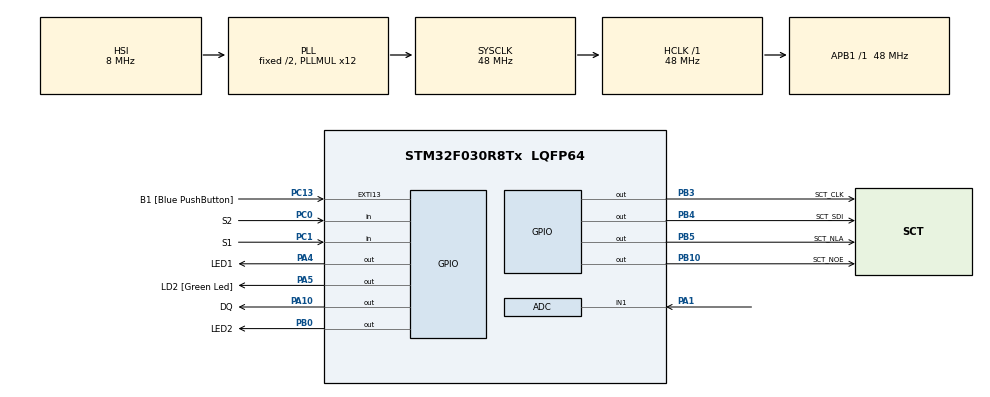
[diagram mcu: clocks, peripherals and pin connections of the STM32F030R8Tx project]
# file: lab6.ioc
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ADC.ContinuousConvMode=ENABLE
ADC.EnableAnalogWatchDog=false
ADC.Overrun=ADC_OVR_DATA_OVERWRITTEN
ADC.Resolution=ADC_RESOLUTION_10B
Mcu.Family=STM32F0
Mcu.Name=STM32F030R8Tx
Mcu.Package=LQFP64
PA1.Mode=IN1
PA1.Signal=ADC_IN1
PA10.GPIO_Label=DQ
PA10.GPIO_ModeDefaultOutputPP=GPIO_MODE_OUTPUT_OD
PA10.GPIO_PuPd=GPIO_NOPULL
PA10.PinState=GPIO_PIN_SET
PA10.Signal=GPIO_Output
PA13.GPIO_Label=TMS
PA13.Signal=SYS_SWDIO
PA14.GPIO_Label=TCK
PA14.Signal=SYS_SWCLK
PA2.GPIO_Label=USART_TX
PA2.GPIO_Mode=GPIO_MODE_AF_PP
PA2.GPIO_PuPd=GPIO_NOPULL
PA2.GPIO_Speed=GPIO_SPEED_FREQ_LOW
PA2.Signal=USART2_TX
PA3.GPIO_Label=USART_RX
PA3.GPIO_Mode=GPIO_MODE_AF_PP
PA3.GPIO_PuPd=GPIO_NOPULL
PA3.GPIO_Speed=GPIO_SPEED_FREQ_LOW
PA3.Signal=USART2_RX
PA4.GPIO_Label=LED1
PA4.Signal=GPIO_Output
PA5.GPIO_Label=LD2 [Green Led]
PA5.GPIO_Mode=GPIO_MODE_OUTPUT_PP
PA5.GPIO_PuPd=GPIO_NOPULL
PA5.GPIO_Speed=GPIO_SPEED_FREQ_LOW
PA5.Signal=GPIO_Output
PB0.GPIO_Label=LED2
PB0.Signal=GPIO_Output
PB10.GPIO_Label=SCT_NOE
PB10.Signal=GPIO_Output
PB3.GPIO_Label=SCT_CLK
PB3.Signal=GPIO_Output
PB4.GPIO_Label=SCT_SDI
PB4.Signal=GPIO_Output
PB5.GPIO_Label=SCT_NLA
PB5.Signal=GPIO_Output
PC0.GPIO_Label=S2
PC0.GPIO_PuPd=GPIO_PULLUP
PC0.Signal=GPIO_Input
PC1.GPIO_Label=S1
PC1.GPIO_PuPd=GPIO_PULLUP
PC1.Signal=GPIO_Input
PC13.GPIO_Label=B1 [Blue PushButton]
PC13.GPIO_ModeDefaultEXTI=GPIO_MODE_IT_FALLING
PC13.Signal=GPXTI13
PC14-OSC32_IN.Signal=RCC_OSC32_IN
PC15-OSC32_OUT.Signal=RCC_OSC32_OUT
PF0-OSC_IN.Signal=RCC_OSC_IN
PF1-OSC_OUT.Signal=RCC_OSC_OUT
ProjectManager.HeapSize=0x200
ProjectManager.StackSize=0x400
ProjectManager.TargetToolchain=STM32CubeIDE
RCC.AHBFreq_Value=48000000
RCC.APB1Freq_Value=48000000
RCC.APB1TimFreq_Value=48000000
RCC.HCLKFreq_Value=48000000
RCC.PLLMUL=RCC_PLL_MUL12
RCC.SYSCLKFreq_VALUE=48000000
RCC.SYSCLKSource=RCC_SYSCLKSOURCE_PLLCLK
board=NUCLEO-F030R8

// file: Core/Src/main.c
/* USER CODE BEGIN Header */
/**
  ******************************************************************************
  * @file           : main.c
  * @brief          : Main program body
  ******************************************************************************
  * @attention
  *
  * Copyright (c) 2023 STMicroelectronics.
  * All rights reserved.
  *
  * This software is licensed under terms that can be found in the LICENSE file
  * in the root directory of this software component.
  * If no LICENSE file comes with this software, it is provided AS-IS.
  *
  ******************************************************************************
  */
/* USER CODE END Header */
#include "main.h"

/* USER CODE BEGIN Includes */
#include "1wire.h"
#include "sct.h"
/* USER CODE END Includes */

ADC_HandleTypeDef hadc;

/* USER CODE BEGIN PV */
static const int16_t lookup[] = {
	#include "data.dlm"
};
/* USER CODE END PV */

void SystemClock_Config(void);
static void MX_GPIO_Init(void);
static void MX_ADC_Init(void);

int main(void)
{

  /* MCU Configuration--------------------------------------------------------*/

  /* Reset of all peripherals, Initializes the Flash interface and the Systick. */
  HAL_Init();

  /* Configure the system clock */
  SystemClock_Config();

  /* Initialize all configured peripherals */
  MX_GPIO_Init();
  MX_ADC_Init();
  /* USER CODE BEGIN 2 */
  OWInit();
  sct_init();

  HAL_ADCEx_Calibration_Start(&hadc);
  HAL_ADC_Start(&hadc);
  /* USER CODE END 2 */

  /* Infinite loop */
  while (1)
  {

    /* USER CODE BEGIN 3 */
	  OWConvertAll();
	  HAL_Delay(750);
	  uint32_t state1 = !HAL_GPIO_ReadPin(S1_GPIO_Port, S1_Pin);
	  uint32_t state2 = !HAL_GPIO_ReadPin(S2_GPIO_Port, S2_Pin);
	  static enum {DS, NTC} state = DS;
	  if (state1) { state = DS; }
	  if (state2) { state = NTC; }
	  switch (state)
	  {
	  	  case DS:
	  		  int16_t temp_18b20;
	  		  OWReadTemperature(&temp_18b20);
	  		  sct_value((temp_18b20+5)/10,0,2);
	  		  HAL_GPIO_WritePin(LED2_GPIO_Port, LED2_Pin, 1);
	  		  HAL_GPIO_WritePin(LED1_GPIO_Port, LED1_Pin, 0);
	  		  break;
	  	  case NTC:
	  		  uint16_t value = HAL_ADC_GetValue(&hadc);
	  		  sct_value((lookup[value]), 0, 2);
	  		  HAL_GPIO_WritePin(LED1_GPIO_Port, LED1_Pin, 1);
	  		  HAL_GPIO_WritePin(LED2_GPIO_Port, LED2_Pin, 0);
	  		  break;
	  }
	  HAL_Delay(50);
  }
  /* USER CODE END 3 */
}

void SystemClock_Config(void)
{
  RCC_OscInitTypeDef RCC_OscInitStruct = {0};
  RCC_ClkInitTypeDef RCC_ClkInitStruct = {0};

  /** Initializes the RCC Oscillators according to the specified parameters
  * in the RCC_OscInitTypeDef structure.
  */
  RCC_OscInitStruct.OscillatorType = RCC_OSCILLATORTYPE_HSI|RCC_OSCILLATORTYPE_HSI14;
  RCC_OscInitStruct.HSIState = RCC_HSI_ON;
  RCC_OscInitStruct.HSI14State = RCC_HSI14_ON;
  RCC_OscInitStruct.HSICalibrationValue = RCC_HSICALIBRATION_DEFAULT;
  RCC_OscInitStruct.HSI14CalibrationValue = 16;
  RCC_OscInitStruct.PLL.PLLState = RCC_PLL_ON;
  RCC_OscInitStruct.PLL.PLLSource = RCC_PLLSOURCE_HSI;
  RCC_OscInitStruct.PLL.PLLMUL = RCC_PLL_MUL12;
  RCC_OscInitStruct.PLL.PREDIV = RCC_PREDIV_DIV1;
  if (HAL_RCC_OscConfig(&RCC_OscInitStruct) != HAL_OK)
  {
    Error_Handler();
  }

  /** Initializes the CPU, AHB and APB buses clocks
  */
  RCC_ClkInitStruct.ClockType = RCC_CLOCKTYPE_HCLK|RCC_CLOCKTYPE_SYSCLK
                              |RCC_CLOCKTYPE_PCLK1;
  RCC_ClkInitStruct.SYSCLKSource = RCC_SYSCLKSOURCE_PLLCLK;
  RCC_ClkInitStruct.AHBCLKDivider = RCC_SYSCLK_DIV1;
  RCC_ClkInitStruct.APB1CLKDivider = RCC_HCLK_DIV1;

  if (HAL_RCC_ClockConfig(&RCC_ClkInitStruct, FLASH_LATENCY_1) != HAL_OK)
  {
    Error_Handler();
  }
}

static void MX_ADC_Init(void)
{

  ADC_ChannelConfTypeDef sConfig = {0};

  /** Configure the global features of the ADC (Clock, Resolution, Data Alignment and number of conversion)
  */
  hadc.Instance = ADC1;
  hadc.Init.ClockPrescaler = ADC_CLOCK_ASYNC_DIV1;
  hadc.Init.Resolution = ADC_RESOLUTION_10B;
  hadc.Init.DataAlign = ADC_DATAALIGN_RIGHT;
  hadc.Init.ScanConvMode = ADC_SCAN_DIRECTION_FORWARD;
  hadc.Init.EOCSelection = ADC_EOC_SINGLE_CONV;
  hadc.Init.LowPowerAutoWait = DISABLE;
  hadc.Init.LowPowerAutoPowerOff = DISABLE;
  hadc.Init.ContinuousConvMode = ENABLE;
  hadc.Init.DiscontinuousConvMode = DISABLE;
  hadc.Init.ExternalTrigConv = ADC_SOFTWARE_START;
  hadc.Init.ExternalTrigConvEdge = ADC_EXTERNALTRIGCONVEDGE_NONE;
  hadc.Init.DMAContinuousRequests = DISABLE;
  hadc.Init.Overrun = ADC_OVR_DATA_OVERWRITTEN;
  if (HAL_ADC_Init(&hadc) != HAL_OK)
  {
    Error_Handler();
  }

  /** Configure for the selected ADC regular channel to be converted.
  */
  sConfig.Channel = ADC_CHANNEL_1;
  sConfig.Rank = ADC_RANK_CHANNEL_NUMBER;
  sConfig.SamplingTime = ADC_SAMPLETIME_1CYCLE_5;
  if (HAL_ADC_ConfigChannel(&hadc, &sConfig) != HAL_OK)
  {
    Error_Handler();
  }

}

static void MX_GPIO_Init(void)
{
  GPIO_InitTypeDef GPIO_InitStruct = {0};

  /* GPIO Ports Clock Enable */
  __HAL_RCC_GPIOC_CLK_ENABLE();
  __HAL_RCC_GPIOF_CLK_ENABLE();
  __HAL_RCC_GPIOA_CLK_ENABLE();
  __HAL_RCC_GPIOB_CLK_ENABLE();

  /*Configure GPIO pin Output Level */
  HAL_GPIO_WritePin(GPIOA, LED1_Pin|LD2_Pin, GPIO_PIN_RESET);

  /*Configure GPIO pin Output Level */
  HAL_GPIO_WritePin(GPIOB, LED2_Pin|SCT_NOE_Pin|SCT_CLK_Pin|SCT_SDI_Pin
                          |SCT_NLA_Pin, GPIO_PIN_RESET);

  /*Configure GPIO pin Output Level */
  HAL_GPIO_WritePin(DQ_GPIO_Port, DQ_Pin, GPIO_PIN_SET);

  /*Configure GPIO pin : B1_Pin */
  GPIO_InitStruct.Pin = B1_Pin;
  GPIO_InitStruct.Mode = GPIO_MODE_IT_FALLING;
  GPIO_InitStruct.Pull = GPIO_NOPULL;
  HAL_GPIO_Init(B1_GPIO_Port, &GPIO_InitStruct);

  /*Configure GPIO pins : S2_Pin S1_Pin */
  GPIO_InitStruct.Pin = S2_Pin|S1_Pin;
  GPIO_InitStruct.Mode = GPIO_MODE_INPUT;
  GPIO_InitStruct.Pull = GPIO_PULLUP;
  HAL_GPIO_Init(GPIOC, &GPIO_InitStruct);

  /*Configure GPIO pins : USART_TX_Pin USART_RX_Pin */
  GPIO_InitStruct.Pin = USART_TX_Pin|USART_RX_Pin;
  GPIO_InitStruct.Mode = GPIO_MODE_AF_PP;
  GPIO_InitStruct.Pull = GPIO_NOPULL;
  GPIO_InitStruct.Speed = GPIO_SPEED_FREQ_LOW;
  GPIO_InitStruct.Alternate = GPIO_AF1_USART2;
  HAL_GPIO_Init(GPIOA, &GPIO_InitStruct);

  /*Configure GPIO pins : LED1_Pin LD2_Pin */
  GPIO_InitStruct.Pin = LED1_Pin|LD2_Pin;
  GPIO_InitStruct.Mode = GPIO_MODE_OUTPUT_PP;
  GPIO_InitStruct.Pull = GPIO_NOPULL;
  GPIO_InitStruct.Speed = GPIO_SPEED_FREQ_LOW;
  HAL_GPIO_Init(GPIOA, &GPIO_InitStruct);

  /*Configure GPIO pins : LED2_Pin SCT_NOE_Pin SCT_CLK_Pin SCT_SDI_Pin
                           SCT_NLA_Pin */
  GPIO_InitStruct.Pin = LED2_Pin|SCT_NOE_Pin|SCT_CLK_Pin|SCT_SDI_Pin
                          |SCT_NLA_Pin;
  GPIO_InitStruct.Mode = GPIO_MODE_OUTPUT_PP;
  GPIO_InitStruct.Pull = GPIO_NOPULL;
  GPIO_InitStruct.Speed = GPIO_SPEED_FREQ_LOW;
  HAL_GPIO_Init(GPIOB, &GPIO_InitStruct);

  /*Configure GPIO pin : DQ_Pin */
  GPIO_InitStruct.Pin = DQ_Pin;
  GPIO_InitStruct.Mode = GPIO_MODE_OUTPUT_OD;
  GPIO_InitStruct.Pull = GPIO_NOPULL;
  GPIO_InitStruct.Speed = GPIO_SPEED_FREQ_LOW;
  HAL_GPIO_Init(DQ_GPIO_Port, &GPIO_InitStruct);

}

void Error_Handler(void)
{
  __disable_irq();
  while (1)
  {
  }
}
